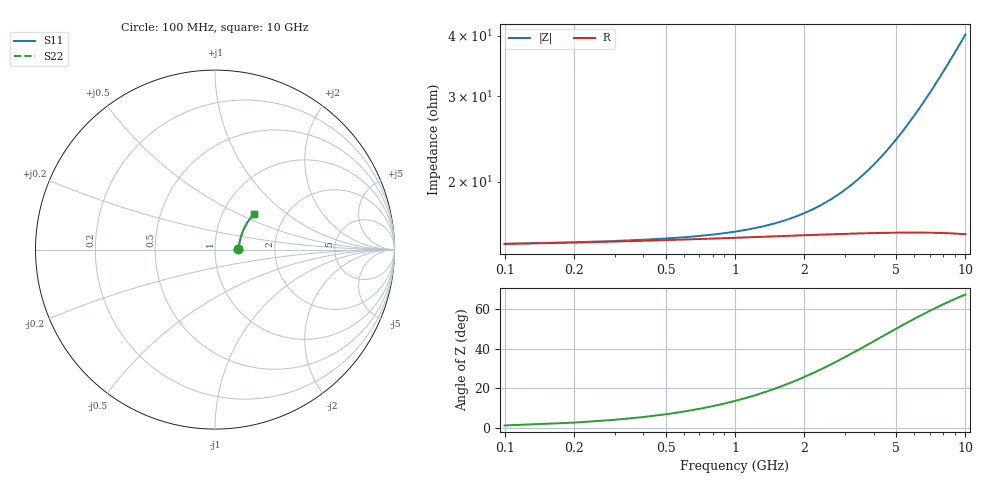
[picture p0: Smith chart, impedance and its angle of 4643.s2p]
# Hz S RI R 50.00
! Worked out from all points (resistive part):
!   100 points, 100 MHz to 10 GHz, reference 50 ohm
!   read as one part in series: R = 14.9 ohm at 100 MHz
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1e8  0.1298 0.0023  0.8702 -0.00338  0.8702 -0.00338  0.1298 0.0023
2e8  0.1305 0.00458  0.8695 -0.00674  0.8695 -0.00674  0.1305 0.00458
8e8  0.1333 0.0182  0.8667 -0.0269  0.8667 -0.0269  0.1333 0.0182
1.1e9  0.1344 0.025  0.8655 -0.0369  0.8655 -0.0369  0.1344 0.025
1.4e9  0.1356 0.0317  0.8643 -0.0468  0.8643 -0.0468  0.1356 0.0317
1.8e9  0.1373 0.0406  0.8625 -0.0601  0.8625 -0.0601  0.1373 0.0406
2.1e9  0.1386 0.0473  0.8611 -0.07  0.8611 -0.07  0.1386 0.0473
2.5e9  0.1407 0.0561  0.8589 -0.0831  0.8589 -0.0831  0.1407 0.0561
2.9e9  0.1429 0.0648  0.8566 -0.0962  0.8566 -0.0962  0.1429 0.0648
3.4e9  0.146 0.0756  0.8533 -0.1124  0.8533 -0.1124  0.146 0.0756
4.2e9  0.1517 0.0926  0.8472 -0.138  0.8472 -0.138  0.1517 0.0926
5.1e9  0.1592 0.1111  0.8391 -0.1663  0.8391 -0.1663  0.1592 0.1111
5.9e9  0.1669 0.127  0.8309 -0.1909  0.8309 -0.1909  0.1669 0.127
6.7e9  0.1754 0.1423  0.8217 -0.2149  0.8217 -0.2149  0.1754 0.1423
7.2e9  0.1812 0.1516  0.8156 -0.2296  0.8156 -0.2296  0.1812 0.1516
7.6e9  0.186 0.1588  0.8104 -0.2411  0.8104 -0.2411  0.186 0.1588
8e9  0.191 0.1658  0.805 -0.2525  0.805 -0.2525  0.191 0.1658
8.4e9  0.1962 0.1727  0.7993 -0.2638  0.7993 -0.2638  0.1962 0.1727
8.8e9  0.2016 0.1794  0.7935 -0.2748  0.7935 -0.2748  0.2016 0.1794
9.2e9  0.2071 0.1858  0.7875 -0.2856  0.7875 -0.2856  0.2071 0.1858
9.6e9  0.2128 0.1921  0.7814 -0.2963  0.7814 -0.2963  0.2128 0.1921
1e10  0.2187 0.1982  0.775 -0.3067  0.775 -0.3067  0.2187 0.1982
